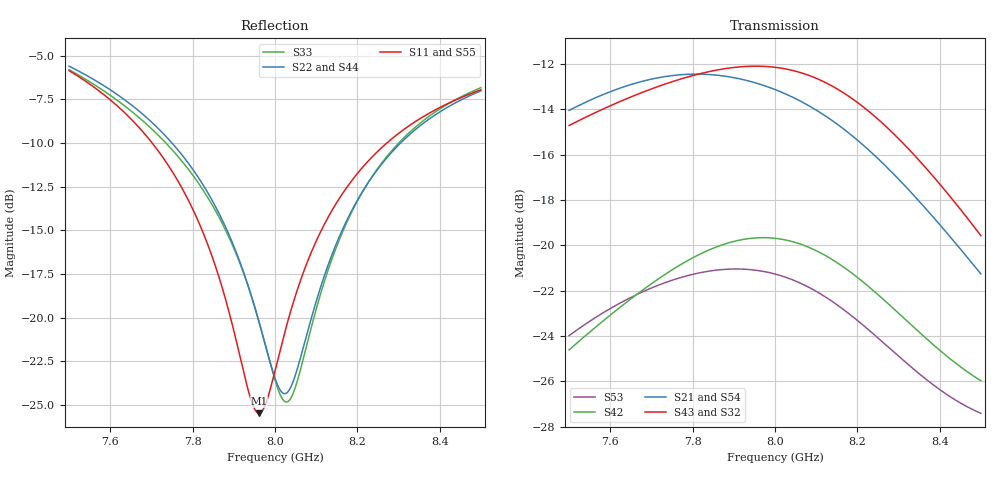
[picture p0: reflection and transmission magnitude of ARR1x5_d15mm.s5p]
! Touchstone file exported from HFSS 2025.1.0
!  File:  C:/Users/user/Documents/Ansoft/TFG_UWB-MIMO-Array.aedt
!  Generated:  06:37:33 PM Nov 20, 2026
!  Design:  ARR1x5_P01_MS2_dparam
!  Project:  TFG_UWB-MIMO-Array
!  Setup:  Setup_ch9
!  Solution:  Sweep_7p5_8p5
! Variables:
!  arr_d = 15mm
!  board_m = 13mm
!  board_x = 86mm
!  board_y = 26mm
!  cu_t = 0.035mm
!  line_w = 3.92mm
!  pad_xy = 22mm
!  pad_zn = 25mm
!  pad_zp = 33mm
!  patch_L = 7.322mm
!  patch_W = 11.421266mm
!  sub_h = 2.07mm
!  tr_l = 7.1mm
!  tr_w = 0.8mm
# GHz S MA R 50.000000
! Terminal data exported
! Port[1] = P1
! Port[2] = P2
! Port[3] = P3
! Port[4] = P4
! Port[5] = P5
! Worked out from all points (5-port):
!   1001 points, 7.5 GHz to 8.5 GHz, reference 50 ohm
!   strongest paths, dB at 7.5 GHz, 7.75 GHz, 8 GHz, 8.25 GHz, 8.5 GHz:
!     S43: -14.7, -12.8, -12.2, -14.4, -19.6
!     S32: -14.8, -12.8, -12.2, -14.5, -19.7
!     S21: -14.1, -12.5, -13.1, -16.2, -21.3
!     S54: -14.1, -12.6, -13.1, -16.1, -21.2
!     S42: -24.6, -21.1, -19.7, -22.2, -26.0
!     S53: -24.0, -21.5, -21.3, -24.1, -27.4
!   lowest |S11| = -25.5 dB at 7.961 GHz (marker M1), VSWR 1.11, Z = 55.1 + j2.19 ohm
!   |S11| at or under -10 dB: 7.702 GHz to 8.271 GHz (569.7 MHz wide, 7.13 % of centre)
